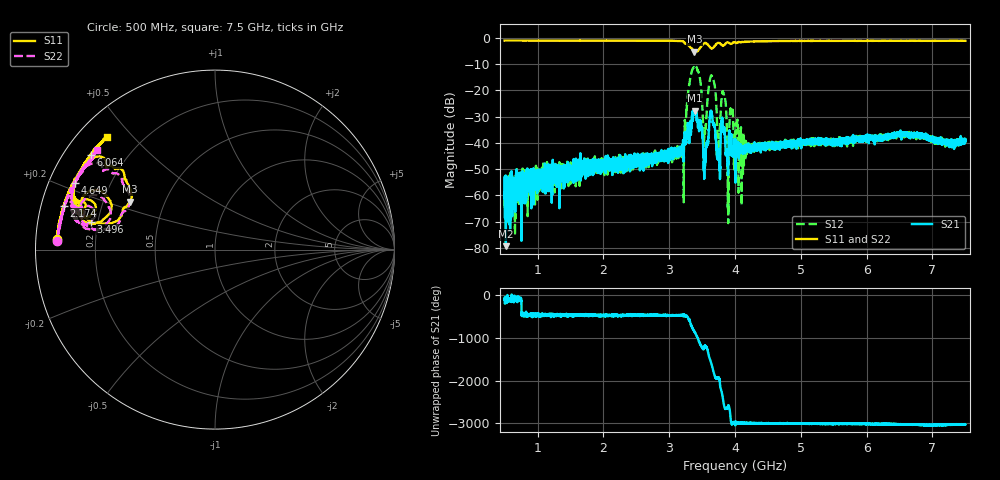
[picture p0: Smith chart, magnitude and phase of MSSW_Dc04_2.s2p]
!Keysight Technologies,M9374A,MY55442783,A.12.55.05
!Date: Wednesday, May 19, 2021 16:48:51
!Correction: S11(Full 2 Port(1,2))
!S21(Full 2 Port(1,2))
!S12(Full 2 Port(1,2))
!S22(Full 2 Port(1,2))
!S2P File: Measurements: S11, S21, S12, S22:
# Hz S  RI  R 50
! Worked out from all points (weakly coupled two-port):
!   7001 points, 500 MHz to 7.5 GHz, reference 50 ohm
!   highest |S21| = -27.72 dB at 3.394 GHz (marker M1); lowest = -79.3 dB at 519 MHz (marker M2)
!   lowest |S11| = -5.3 dB at 3.384 GHz (marker M3), VSWR 3.37, Z = 15.8 + j11.9 ohm
!   |S11| at or under -10 dB: nowhere
!   |S22| runs from -5.4 to -1.1 dB; largest |S21 - S12| = 0.25
!   S11 on the Smith chart (normalised r, x): 500 MHz: 0.06, +0.03; 2.174 GHz: 0.07, +0.14; 3.496 GHz: 0.17, +0.11; 4.649 GHz: 0.08, +0.22; 6.064 GHz: 0.08, +0.33; 7.5 GHz: 0.08, +0.43
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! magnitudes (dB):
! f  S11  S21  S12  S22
! 500 MHz  -1.1  -61.2  -56.7  -1.1
! 519 MHz  -1.1  -79.3  -55.9  -1.1
! 1.667 GHz  -1.1  -48.0  -52.3  -1.2
! 2.174 GHz  -1.1  -47.7  -46.2  -1.2
! 2.834 GHz  -1.2  -44.0  -45.1  -1.2
! 3.197 GHz  -1.3  -43.0  -43.2  -1.3
! 3.307 GHz  -3.1  -38.8  -17.6  -3.1
! 3.384 GHz  -5.3  -28.0  -11.0  -5.4
! 3.394 GHz  -5.3  -27.7  -10.8  -5.3
! 3.496 GHz  -3.0  -35.4  -22.2  -2.9
! 3.545 GHz  -2.0  -44.9  -36.5  -2.1
! 3.653 GHz  -4.1  -29.7  -14.7  -4.2
! 3.747 GHz  -2.0  -43.3  -41.5  -2.0
! 3.825 GHz  -3.0  -35.1  -21.1  -3.0
! 3.885 GHz  -1.8  -45.0  -47.5  -1.8
! 3.943 GHz  -2.4  -36.7  -28.1  -2.4
! 4 GHz  -1.7  -41.1  -38.0  -1.8
! 4.649 GHz  -1.3  -41.1  -40.8  -1.3
! 5.167 GHz  -1.2  -38.5  -39.7  -1.3
! 6.064 GHz  -1.2  -37.3  -38.8  -1.3
! 6.334 GHz  -1.2  -37.5  -37.5  -1.3
! 7.5 GHz  -1.2  -38.7  -39.6  -1.3
